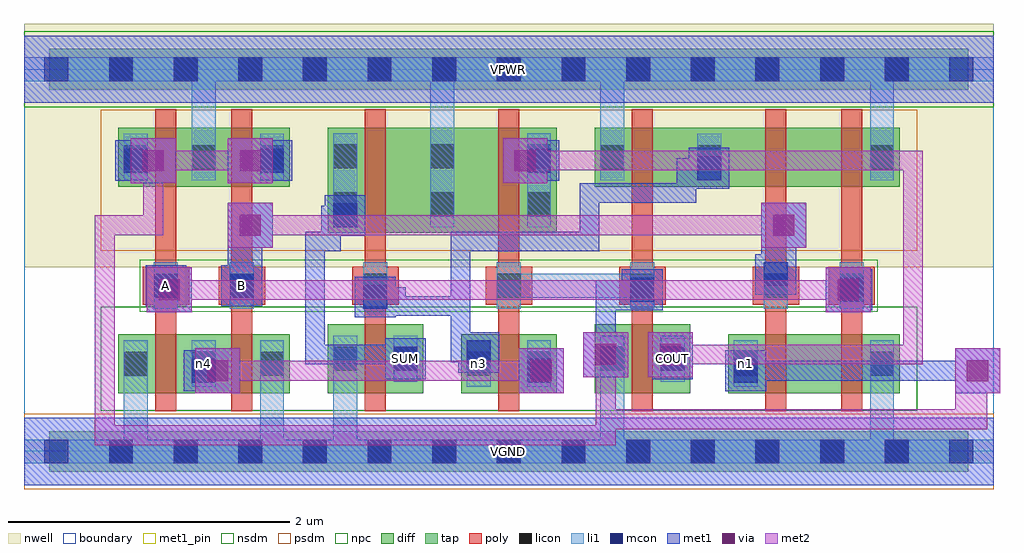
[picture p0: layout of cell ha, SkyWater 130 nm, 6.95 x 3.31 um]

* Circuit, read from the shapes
.subckt ha A B COUT SUM VGND VPWR n1 n3 n4
XM1 n4 A VGND VGND sky130_fd_pr__nfet_01v8 w=0.42 l=0.15
XM2 VGND B n4 VGND sky130_fd_pr__nfet_01v8 w=0.42 l=0.15
XM3 SUM n3 VGND VGND sky130_fd_pr__nfet_01v8 w=0.49 l=0.15
XM4 n4 n1 n3 VGND sky130_fd_pr__nfet_01v8 w=0.42 l=0.15
XM5 COUT n1 VGND VGND sky130_fd_pr__nfet_01v8 w=0.49 l=0.15
XM6 n2 B n1 VGND sky130_fd_pr__nfet_01v8 w=0.42 l=0.15
XM7 VGND A n2 VGND sky130_fd_pr__nfet_01v8 w=0.42 l=0.15
XM8 VPWR A n1 VPWR sky130_fd_pr__pfet_01v8 w=0.42 l=0.15
XM9 n1 B VPWR VPWR sky130_fd_pr__pfet_01v8 w=0.42 l=0.15
XM10 VPWR n3 SUM VPWR sky130_fd_pr__pfet_01v8 w=0.75 l=0.15
XM11 COUT n1 VPWR VPWR sky130_fd_pr__pfet_01v8 w=0.75 l=0.15
XM12 n3 n1 VPWR VPWR sky130_fd_pr__pfet_01v8 w=0.42 l=0.15
XM13 n5 B n3 VPWR sky130_fd_pr__pfet_01v8 w=0.42 l=0.15
XM14 VPWR A n5 VPWR sky130_fd_pr__pfet_01v8 w=0.42 l=0.15
.ends

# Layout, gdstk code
import gdstk
lib = gdstk.Library(unit=1e-6, precision=1e-09)
def R(c, l, rs):  # rectangles x0, y0, x1, y1
    for r in rs: c.add(gdstk.rectangle(r[:2], r[2:], *l))
def A(c, l, x, y, w, h, nx, ny, dx, dy):  # array of equal rectangles
    R(c, l, [(x+i*dx, y+j*dy, x+i*dx+w, y+j*dy+h) for i in range(nx) for j in range(ny)])
nwell = (64, 20)
diff = (65, 20)
tap = (65, 44)
poly = (66, 20)
licon = (66, 44)
li1 = (67, 20)
mcon = (67, 44)
met1_pin = (68, 16)
met1 = (68, 20)
via = (68, 44)
met2 = (69, 20)
nsdm = (93, 44)
psdm = (94, 20)
npc = (95, 20)
boundary = (235, 4)

c_ha = lib.new_cell('ha')
R(c_ha, nwell, [(0,1.31,6.9,3.045)])
R(c_ha, diff, [(0.67,0.415,1.89,0.835), (2.16,0.415,2.84,0.905), (3.11,0.415,3.79,0.835), (4.06,0.415,4.74,0.905), (5.01,0.415,6.23,0.835), (2.16,1.555,3.79,2.305), (0.67,1.885,1.89,2.305), (4.06,1.885,6.23,2.305)])
R(c_ha, tap, [(0.18,-0.145,6.72,0.145), (0.18,2.575,6.72,2.865)])
A(c_ha, poly, 1.475, 0.285, 0.15, 2.15, 5, 1, 0.95, 0)
A(c_ha, poly, 1.385, 1.045, 0.33, 0.27, 5, 1, 0.95, 0)
R(c_ha, poly, [(0.935,0.285,1.085,2.435), (5.815,0.285,5.965,2.435), (0.845,1.045,1.175,1.315), (5.725,1.045,6.055,1.315)])
A(c_ha, licon, 0.605, -0.085, 0.17, 0.17, 13, 2, 0.46, 2.72)
A(c_ha, licon, 0.71, 0.54, 0.17, 0.17, 3, 2, 0.485, 1.47)
A(c_ha, licon, 1.465, 1.095, 0.17, 0.17, 5, 1, 0.95, 0)
A(c_ha, licon, 2.2, 1.675, 0.17, 0.17, 3, 2, 0.69, 0.34)
R(c_ha, licon, [(3.15,0.54,3.32,0.71), (3.58,0.54,3.75,0.71), (5.05,0.54,5.22,0.71), (6.02,0.54,6.19,0.71), (2.2,0.575,2.37,0.745), (2.63,0.575,2.8,0.745), (4.1,0.575,4.27,0.745), (4.53,0.575,4.7,0.745), (0.925,1.095,1.095,1.265), (5.805,1.095,5.975,1.265), (4.1,2.01,4.27,2.18), (4.79,2.01,4.96,2.18), (6.02,2.01,6.19,2.18)])
A(c_ha, li1, 0.71, 0.46, 0.17, 0.33, 3, 2, 0.485, 1.47)
A(c_ha, li1, 1.465, 1.015, 0.17, 0.33, 5, 1, 0.95, 0)
A(c_ha, li1, 2.2, 1.595, 0.17, 0.67, 3, 1, 0.69, 0)
R(c_ha, li1, [(0,-0.085,6.9,0.085), (0.71,-0.085,0.88,0.79), (1.68,-0.085,1.85,0.79), (2.2,-0.085,2.37,0.825), (4.1,-0.085,4.27,0.825), (6.02,-0.085,6.19,0.79), (3.15,0.46,3.32,0.79), (3.58,0.46,3.75,0.79), (5.05,0.46,5.22,0.79), (6.02,0.46,6.19,0.79), (2.2,0.495,2.37,0.825), (2.63,0.495,2.8,0.825), (4.1,0.495,4.27,0.825), (4.53,0.495,4.7,0.825), (0.925,1.015,1.095,1.345), (5.805,1.015,5.975,1.345), (3.365,1.095,4.485,1.265), (2.89,1.595,3.06,2.805), (1.195,1.93,1.365,2.805), (4.1,1.93,4.27,2.26), (4.1,1.93,4.27,2.805), (4.79,1.93,4.96,2.26), (6.02,1.93,6.19,2.26), (6.02,1.93,6.19,2.805), (0,2.635,6.9,2.805)])
A(c_ha, mcon, 0.145, -0.085, 0.17, 0.17, 15, 2, 0.46, 2.72)
R(c_ha, mcon, [(1.195,0.49,1.365,0.66), (3.58,0.49,3.75,0.66), (5.05,0.49,5.22,0.66), (2.63,0.575,2.8,0.745), (4.53,0.575,4.7,0.745), (3.15,0.62,3.32,0.79), (2.415,1.015,2.585,1.185), (4.315,1.065,4.485,1.235), (5.805,1.065,5.975,1.235), (0.925,1.095,1.095,1.265), (1.465,1.095,1.635,1.265), (5.265,1.175,5.435,1.345), (2.2,1.595,2.37,1.765), (4.79,1.93,4.96,2.1), (0.71,1.985,0.88,2.155), (1.68,1.985,1.85,2.155), (3.58,1.985,3.75,2.155)])
R(c_ha, met1_pin, [(0,-0.24,6.9,0.24), (2.57,0.515,2.86,0.805), (4.47,0.515,4.76,0.805), (0.865,1.035,1.155,1.325), (1.405,1.035,1.695,1.325), (0,2.48,6.9,2.96)])
R(c_ha, met1, [(0,-0.24,6.9,0.24), (1.22,0.415,1.54,0.735), (3.52,0.415,3.84,0.735), (6.625,0.415,6.945,0.735), (1.135,0.43,1.425,0.72), (3.52,0.43,3.81,0.72), (4.99,0.43,5.28,0.72), (1.21,0.505,1.45,0.645), (3.595,0.505,3.75,0.645), (5.065,0.505,5.36,0.645), (5.22,0.505,6.855,0.645), (2.57,0.515,2.86,0.805), (4.47,0.515,4.76,0.805), (3.98,0.53,4.3,0.85), (4.44,0.53,4.76,0.85), (3.09,0.56,3.38,0.85), (2,0.62,2.715,0.76), (2,0.62,2.14,1.565), (2.575,0.62,2.715,0.76), (4.07,0.62,4.21,1.22), (4.53,0.62,4.67,0.76), (3.035,0.635,3.305,0.775), (3.035,0.635,3.175,0.875), (3.035,0.735,3.175,1.105), (2.355,0.955,2.645,1.245), (2.575,0.965,2.715,1.17), (2.575,0.965,3.175,1.105), (3.035,0.965,3.175,1.565), (0.875,0.99,1.195,1.31), (5.705,0.99,6.025,1.31), (4.21,1.005,4.255,1.22), (4.255,1.005,4.545,1.295), (5.745,1.005,6.035,1.295), (2.43,1.03,2.715,1.17), (0.865,1.035,1.155,1.325), (1.405,1.035,1.695,1.325), (0.965,1.08,1.105,1.22), (1.54,1.08,1.68,1.68), (1.54,1.08,1.68,1.22), (4.07,1.08,4.325,1.22), (4.185,1.08,4.47,1.22), (5.795,1.08,5.96,1.22), (5.205,1.115,5.495,1.405), (5.28,1.19,5.475,1.33), (5.335,1.19,5.475,1.45), (5.335,1.31,5.475,1.68), (1.45,1.325,1.695,1.45), (5.28,1.33,5.475,1.45), (5.245,1.405,5.495,1.45), (2,1.425,2.255,1.565), (2.115,1.425,2.255,1.75), (3.035,1.425,4.095,1.565), (3.955,1.425,4.095,1.91), (1.45,1.45,1.77,1.77), (5.245,1.45,5.565,1.77), (2.14,1.535,2.43,1.825), (2.115,1.61,2.355,1.75), (3.955,1.77,4.785,1.91), (4.645,1.77,4.785,2.085), (4.73,1.87,5.02,2.16), (0.76,1.91,1.08,2.23), (1.45,1.91,1.77,2.23), (3.405,1.91,3.725,2.23), (0.65,1.925,0.94,2.215), (1.62,1.925,1.91,2.215), (3.52,1.925,3.81,2.215), (4.645,1.945,4.945,2.085), (0.725,2,0.99,2.14), (1.54,2,1.835,2.14), (3.495,2,3.735,2.14), (0,2.48,6.9,2.96)])
R(c_ha, via, [(1.305,0.5,1.455,0.65), (3.605,0.5,3.755,0.65), (6.71,0.5,6.86,0.65), (4.065,0.615,4.215,0.765), (4.525,0.615,4.675,0.765), (0.96,1.075,1.11,1.225), (5.79,1.075,5.94,1.225), (1.535,1.535,1.685,1.685), (5.33,1.535,5.48,1.685), (0.845,1.995,0.995,2.145), (1.535,1.995,1.685,2.145), (3.49,1.995,3.64,2.145)])
R(c_ha, met2, [(0.505,0.045,0.645,1.68), (0.505,0.045,4.21,0.185), (4.07,0.045,4.21,0.76), (4.07,0.16,6.855,0.3), (6.715,0.16,6.855,0.645), (6.625,0.3,6.855,0.415), (1.22,0.415,1.54,0.735), (3.52,0.415,3.84,0.735), (6.625,0.415,6.945,0.735), (1.31,0.505,3.75,0.645), (3.98,0.53,4.3,0.85), (4.44,0.53,4.76,0.85), (4.53,0.62,6.395,0.76), (6.255,0.62,6.395,2.14), (0.875,0.99,1.195,1.31), (5.705,0.99,6.025,1.31), (0.965,1.08,5.935,1.22), (1.45,1.45,1.77,1.77), (5.245,1.45,5.565,1.77), (0.505,1.54,0.99,1.68), (0.85,1.54,0.99,2.14), (1.54,1.54,5.475,1.68), (0.76,1.91,1.08,2.23), (1.45,1.91,1.77,2.23), (3.405,1.91,3.725,2.23), (0.85,2,1.68,2.14), (3.495,2,6.395,2.14)])
R(c_ha, nsdm, [(0.545,0.29,6.355,1.03), (0,2.45,6.9,2.99)])
R(c_ha, psdm, [(0,-0.27,6.9,0.27), (0.545,1.43,6.355,2.43)])
R(c_ha, npc, [(0.825,0.995,6.075,1.365)])
R(c_ha, boundary, [(0,0,6.9,2.72)])
c_ha.add(gdstk.Label('n4', (1.28,0.625), layer=67, texttype=5))
c_ha.add(gdstk.Label('n3', (3.235,0.625), layer=67, texttype=5))
c_ha.add(gdstk.Label('n1', (5.135,0.625), layer=67, texttype=5))
c_ha.add(gdstk.Label('A', (1.01,1.18), layer=68, texttype=5))
c_ha.add(gdstk.Label('B', (1.55,1.18), layer=68, texttype=5))
c_ha.add(gdstk.Label('SUM', (2.715,0.66), layer=68, texttype=5))
c_ha.add(gdstk.Label('COUT', (4.615,0.66), layer=68, texttype=5))
c_ha.add(gdstk.Label('VPWR', (3.45,2.72), layer=68, texttype=5))
c_ha.add(gdstk.Label('VGND', (3.45,0), layer=68, texttype=5))
c_ha.add(gdstk.Label('A', (1.01,1.18), layer=68, texttype=16))
c_ha.add(gdstk.Label('B', (1.55,1.18), layer=68, texttype=16))
c_ha.add(gdstk.Label('SUM', (2.715,0.66), layer=68, texttype=16))
c_ha.add(gdstk.Label('COUT', (4.615,0.66), layer=68, texttype=16))
c_ha.add(gdstk.Label('VPWR', (3.45,2.72), layer=68, texttype=16))
c_ha.add(gdstk.Label('VGND', (3.45,0), layer=68, texttype=16))

lib.write_gds('ha.gds')
